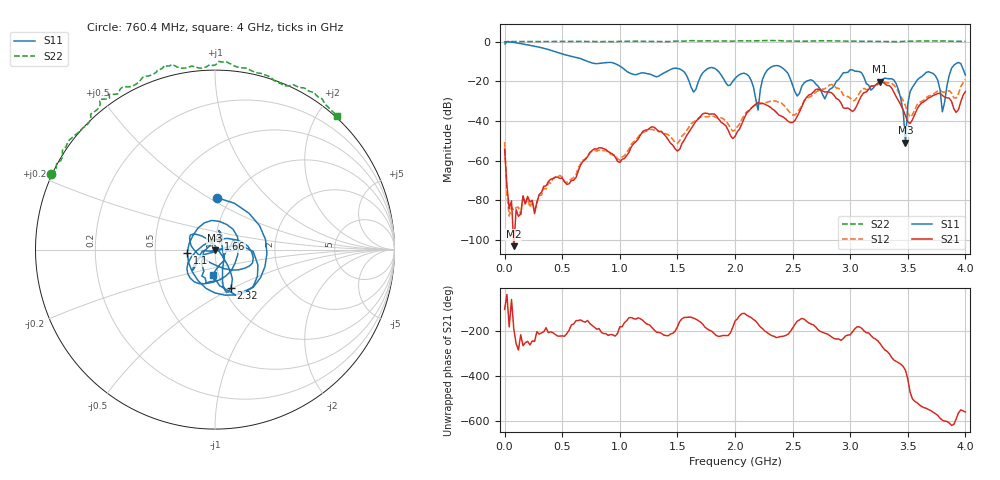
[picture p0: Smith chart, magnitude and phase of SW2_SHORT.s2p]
# Hz S DB R 50
! CMT, S5180, 51801906, 22.3.3/1
! Date: 27/01/2023 17:15:21
! Data: Format (Calibration Info)
! Freq	S11:dB/Ang(F2)	S21:dB/Ang(F2)	S12:dB/Ang(F2)	S22:dB/Ang(F2)
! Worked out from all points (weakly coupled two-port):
!   201 points, 500 kHz to 4 GHz, reference 50 ohm
!   highest |S21| = -20.21 dB at 3.26 GHz (marker M1); lowest = -103.0 dB at 80.49 MHz (marker M2)
!   lowest |S11| = -51.0 dB at 3.48 GHz (marker M3), VSWR 1.01, Z = 50 - j0.283 ohm
!   |S11| at or under -10 dB: 720.2 MHz to end of sweep
!   |S22| runs from -1.6 to 0.5 dB; largest |S21 - S12| = 0.074
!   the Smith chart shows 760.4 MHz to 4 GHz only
!   S11 on the Smith chart (normalised r, x): 760.4 MHz: 0.87, +0.55; 1.1 GHz: 0.73, -0.03; 1.66 GHz: 1.03, +0.12; 2.32 GHz: 1.08, -0.49; 4 GHz: 0.94, -0.27
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500000  -0.18 -2.0  -54.12 -101.5  -50.53 112.0  -1.59 12.0
2.04975e7  -0.12 -18.7  -72.48 -35.2  -76.69 -48.6  0.01 179.4
8.049e7  -0.46 -71.9  -103.02 169.7  -84.94 149.4  -0.01 177.3
1.804775e8  -1.47 -159.1  -81.70 109.9  -82.18 114.1  0.00 174.1
2.80465e8  -2.58 111.9  -80.82 158.7  -81.38 156.3  -0.01 171.0
4.0045e8  -4.41 11.0  -69.34 158.7  -71.31 163.7  -0.02 167.1
6.80415e8  -9.05 159.1  -60.30 -155.0  -59.72 -152.6  0.05 158.3
7.60405e8  -10.77 87.6  -54.82 -173.1  -55.20 -168.7  0.05 155.4
1.100362e9  -16.18 -173.4  -52.99 -138.1  -51.70 -130.4  0.11 144.4
1.340332e9  -17.37 -34.5  -45.37 155.3  -45.22 -177.6  0.01 137.5
1.660292e9  -24.09 71.2  -40.21 -144.9  -39.68 -135.2  0.35 126.4
2.00025e9  -18.65 -179.5  -47.80 -153.5  -44.61 -137.6  0.26 113.8
2.200225e9  -34.49 -10.8  -30.70 -166.9  -31.26 -145.2  0.43 107.3
2.32021e9  -12.66 -67.8  -33.81 141.1  -30.17 -162.3  0.48 104.7
2.680165e9  -19.88 74.6  -25.42 -170.4  -26.70 -147.6  0.23 90.7
3.260092e9  -20.30 20.1  -20.21 105.5  -20.74 141.1  0.03 71.4
3.340082e9  -18.75 11.1  -22.17 60.2  -20.77 107.2  -0.04 68.7
3.480065e9  -50.98 -89.2  -37.33 -13.7  -32.36 33.2  0.15 64.5
3.580052e9  -19.49 -150.5  -34.10 -158.1  -31.86 -124.8  0.25 61.1
3.800025e9  -35.39 -123.8  -27.12 123.6  -25.40 154.6  0.25 55.2
3.880015e9  -13.42 -2.8  -30.13 100.2  -25.84 138.7  0.14 52.9
4e9  -16.86 -94.9  -25.18 160.2  -19.14 -166.2  0.09 47.6
